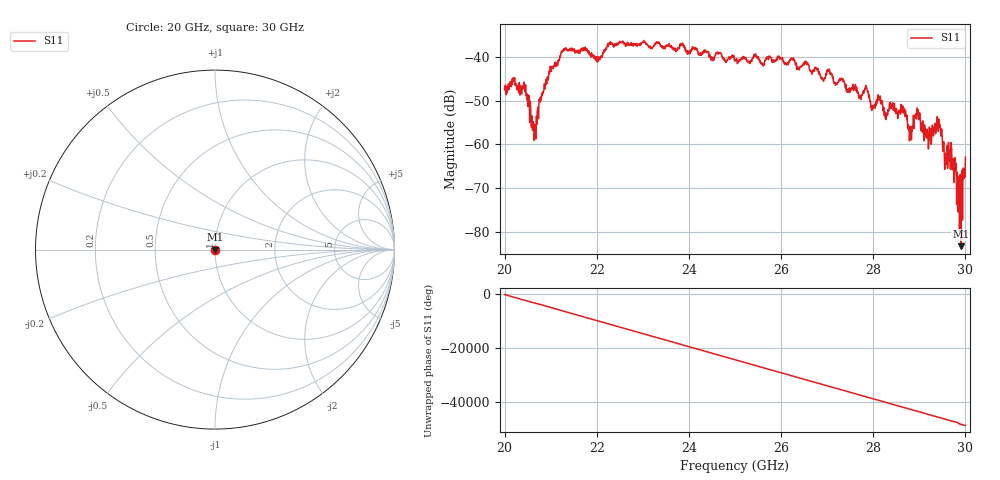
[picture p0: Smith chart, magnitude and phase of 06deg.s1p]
#  HZ  S  RI  R  50.00
! Rohde & Schwarz ZVA40 4Ports - Version 3.90 - 1145.1110k42 SN: 100403
! Date: 2023-10-03 12:41:38
! Measurement: S12
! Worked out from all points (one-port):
!   5001 points, 20 GHz to 30 GHz, reference 50 ohm
!   lowest |S11| = -83.4 dB at 29.9 GHz (marker M1), VSWR 1.00, Z = 50 + j0.00583 ohm
!   |S11| at or under -10 dB: start of sweep to end of sweep
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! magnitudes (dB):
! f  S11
! 20 GHz  -47.5
! 20.2 GHz  -45.0
! 20.42 GHz  -46.0
! 20.65 GHz  -57.7
! 20.95 GHz  -45.2
! 21.25 GHz  -38.9
! 22.02 GHz  -39.9
! 22.5 GHz  -36.5
! 23.75 GHz  -38.3
! 25 GHz  -40.5
! 26.25 GHz  -40.4
! 27.5 GHz  -47.7
! 27.85 GHz  -47.0
! 27.97 GHz  -51.8
! 28.15 GHz  -49.4
! 28.27 GHz  -54.0
! 28.4 GHz  -50.9
! 28.65 GHz  -51.8
! 28.75 GHz  -56.3
! 28.81 GHz  -55.9
! 28.97 GHz  -52.3
! 29.22 GHz  -56.6
! 29.42 GHz  -56.2
! 29.55 GHz  -65.2
! 29.67 GHz  -64.9
! 29.85 GHz  -68.1
! 29.9 GHz  -83.4
! 30 GHz  -62.9
